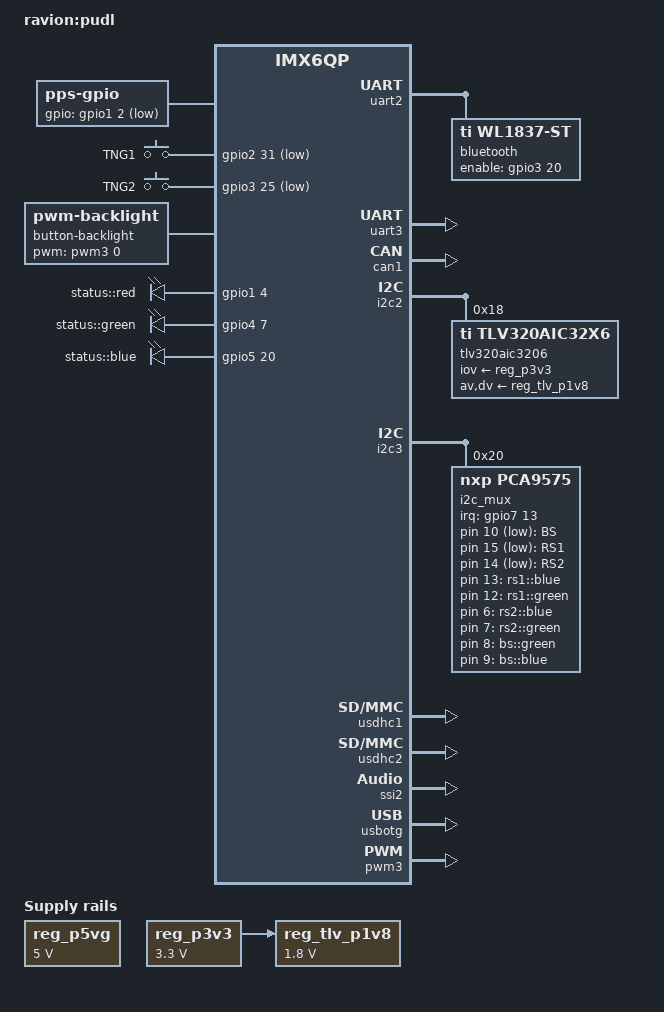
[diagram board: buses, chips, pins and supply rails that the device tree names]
/*
 * Copyright 2025 Radioavionica Corp.
 *
 * This program is free software; you can redistribute it and/or modify
 * it under the terms of the GNU General Public License version 2 as
 * published by the Free Software Foundation.
 *
 */

/dts-v1/;
#include "imx6qp.dtsi"

#define SPI_CS_GPIO
#include "imx6qdl-ravion-v2.dtsi"

/ {
	model = "ravion:pudl";
	compatible = "ravion,imx6qp", "fsl,imx6qp";

	/*
	 * Device specific regulators
	 */
	reg_p5vg: regulator-p5v { /* DA4 */
			compatible = "regulator-fixed";
			regulator-name = "P5V";
			regulator-min-microvolt = <5000000>;
			regulator-max-microvolt = <5000000>;
			regulator-boot-on;
			regulator-always-on;
	};

	reg_p3v3: regulator-p3v3 { /* DA3 */
			compatible = "regulator-fixed";
			regulator-name = "P3V3";
			regulator-min-microvolt = <3300000>;
			regulator-max-microvolt = <3300000>;
			regulator-boot-on;
			regulator-always-on;
	};

	reg_tlv_p1v8: regulator-tlv { /* DA7 */
			compatible = "regulator-fixed";
			regulator-name = "TLV-P1V8";
			regulator-min-microvolt = <1800000>;
			regulator-max-microvolt = <1800000>;
			vin-supply = <&reg_p3v3>;
			regulator-boot-on;
			regulator-always-on;
	};

	sound-tlv320 {
		compatible = "fsl,imx-audio-tlv320aic32x4";
		model = "ravion-tlv320aic32x6";
		ssi-controller = <&ssi2>;
		audio-codec = <&tlv320aic3206>;
		audio-routing =
			"IN1_L", "Line In Jack",
			"IN1_R", "Line In Jack",
			"IN2_L", "Line In Jack",
			"IN2_R", "Line In Jack",
			"Headphone Jack", "HPL",
			"Headphone Jack", "HPR",
			"Line Out Jack", "LOL",
			"Line Out Jack", "LOR";
		mux-int-port = <2>;
		mux-ext-port = <5>;
	};

	pps {
		compatible = "pps-gpio";
		gpios	= <&gpio1  2 GPIO_ACTIVE_LOW>;		/* soDimm055 */
	};

	gpio-keys {
		compatible = "gpio-keys";

		PTT1 {
			label = "TNG1";
			gpios = <&gpio2 31 GPIO_ACTIVE_LOW>;	/* soDimm37 */
			linux,code = <KEY_F2>;
			debounce-interval = <100>;
			wakeup-source;
		};

		PTT2 {
			label = "TNG2";
			gpios = <&gpio3 25 GPIO_ACTIVE_LOW>;	/* soDimm29 */
			linux,code = <KEY_F10>;
			debounce-interval = <100>;
			wakeup-source;
		};
	};

	gpio-keys-front-panel { //TODO: make interrupts work
		compatible = "gpio-keys-polled";
		poll-interval = <100>;
		button1 {
			label = "BS";
			gpios = <&i2c_mux 10 GPIO_ACTIVE_LOW>;
			linux,code = <KEY_F17>;
		};

		button2 {
			label = "RS1";
			gpios = <&i2c_mux 15 GPIO_ACTIVE_LOW>;
			linux,code = <KEY_F18>;
		};

		button3 {
			label = "RS2";
			gpios = <&i2c_mux 14 GPIO_ACTIVE_LOW>;
			linux,code = <KEY_F19>;
		};
	};

	button-backlight {
		compatible = "pwm-backlight";
		pwms = <&pwm3 0 5000000>;
		brigthness-levels = <0 4 8 16 32 64 128 255>;
		default-brightnesslevel = <2>;
	};

	gpio-leds {
		compatible = "gpio-leds";

		LED1 { /* P1_5 */
			label = "rs1::blue";
			gpios = <&i2c_mux 13 GPIO_ACTIVE_HIGH>;
			default-stat = "off";
		};

		LED2 { /* P1_4 */
			label = "rs1::green";
			gpios = <&i2c_mux 12 GPIO_ACTIVE_HIGH>;
			default-stat = "off";
		};

		LED3 { /* P0_6 */
			label = "rs2::blue";
			gpios = <&i2c_mux 6 GPIO_ACTIVE_HIGH>;
			default-stat = "off";
		};

		LED4 { /* P0_7 */
			label = "rs2::green";
			gpios = <&i2c_mux 7 GPIO_ACTIVE_HIGH>;
			default-stat = "off";
		};

		LED5 { /* P1_0 */
			label = "bs::green";
			gpios = <&i2c_mux 8 GPIO_ACTIVE_HIGH>;
			default-stat = "off";
		};

		LED6 { /* P1_1 */
			label = "bs::blue";
			gpios = <&i2c_mux 9 GPIO_ACTIVE_HIGH>;
			default-stat = "off";
		};

		status_red {
			label = "status::red";
			gpios = <&gpio1 4 GPIO_ACTIVE_HIGH>;	/* soDimm188 */
			default-state = "off";
		};

		status_green {
			label = "status::green";
			gpios = <&gpio4 7 GPIO_ACTIVE_HIGH>;	/* soDimm190 */
			default-state = "off";
		};

		status_blue {
			label = "status::blue";
			linux,default-trigger = "heartbeat";
			gpios = <&gpio5 20 GPIO_ACTIVE_HIGH>;	/* soDimm192 */
			default-state = "on";
		};
	};
};

/*
 * Serial ports
 */
/* &uart1 {	status = "okay";	}; => Allways enabled */
&uart2 {
	uart-has-rtscts;
	status = "okay";

	bluetooth {
		enable-gpios = <&gpio3 20 GPIO_ACTIVE_HIGH>;	/* soDimm 027 */
		compatible = "ti,wl1837-st";
		clocks = <&clk_32k_bt 0>;
		clock-names = "ext_clock";
		max-speed = <3686400>;
		current-speed = <115200>;
		status = "okay";

		clk_32k_bt: bt_clk {
			compatible = "fixed-clock";
			#clock-cells = <0>;
			clock-frequency = <32768>;
			clock-accuracy = <100>;
		};
	};
};

&uart3 {
	status = "okay";
};

/*
 * Controller Area Network (CAN) Bus
 */
&can1 {
	status = "okay";
};

/*
 * I2C Busses
 */
&i2c2 {	/* Compatible I2C: soDimm 194, 196 */
	status = "okay";

	/* ext codec */
	#address-cells = <1>;
	#size-cells = <0>;
	tlv320aic3206: codec@18 {
		compatible = "ti,tlv320aic32x6";
		reg = <0x18>;
		pinctrl-names = "default";
		pinctrl-0 = <&pinctrl_ext_aud5>, <&pinctrl_clkext>;
		iov-supply = <&reg_p3v3>;
		av-supply = <&reg_tlv_p1v8>;
		dv-supply = <&reg_tlv_p1v8>;
//		reset-gpios = <>; /* Not connected */
		clocks = <&clks IMX6QDL_CLK_CKO2>; /* soDimm 137 */
		clock-names = "mclk";
	};
};

&i2c3 { /* Extended I2C: soDimm 128, 130 */
	status = "okay";

	#address-cells = <1>;
	#size-cells = <0>;
	i2c_mux: pca9575@20 {
		compatible = "nxp,pca9575";
		reg = <0x20>;
		pinctrl-names = "default";
		/* pinctrl-0 = <&pinctrl_hog>; */
		gpio-controller;
		#gpio-cells = <2>;
		interrupt-parent = <&gpio7>;
		interrupts = <13 IRQ_TYPE_EDGE_FALLING>; /*sodimm 186 */
		interrupt-controller;
		#interrupt-cells = <2>;
		//sw-gpios = <&i2c_mux 10 0>;
		gpio-line-names =
			"__unused_p00", "__unused_p01", "__unused_p02", "__unused_p03",
			"__unused_p04", "__unused_p05", "led2", "led1",
			"led9", "led10", "led7", "led8",
			"led5", "led6", "led3", "led4";
	};
};

&mipi_csi {
	status = "disabled";
};

/*
 * SD/MMC and eMMC controllers
 */
&usdhc1 {	status = "okay";	}; /* compatible */
&usdhc2 {	status = "okay";	}; /* compatible */
/* &usdhc3 {	status = "okay";	}; => eMMC allways enabled */

/*
 * Ethernet controller
 */
/* &fec {	status = "okay";	}; => eth0 allways enabled */

/*
 * Audio (digital part)
 */
/* &audmux {	status = "okay";	}; => Allways enabled */
&sgtl5000 {	status = "disabled";	};
&module_sound {	status = "disabled";	};
&ssi1	{	status = "disabled";	};
&ssi2 	{	status = "okay";	}; /* for external codec */

&usbotg	{ /* OTG */
	status = "okay";
};

/*
 * PWMs
 */
&pwm3	{
	status = "okay";
	#pwm-cells = <2>;
};

&pwm4	{	status = "disabled";	};

&iomuxc {
	pinctrl-names = "default";
	pinctrl-0 = <&pinctrl_hog>, <&pinctrl_uart1gpio>;
};
